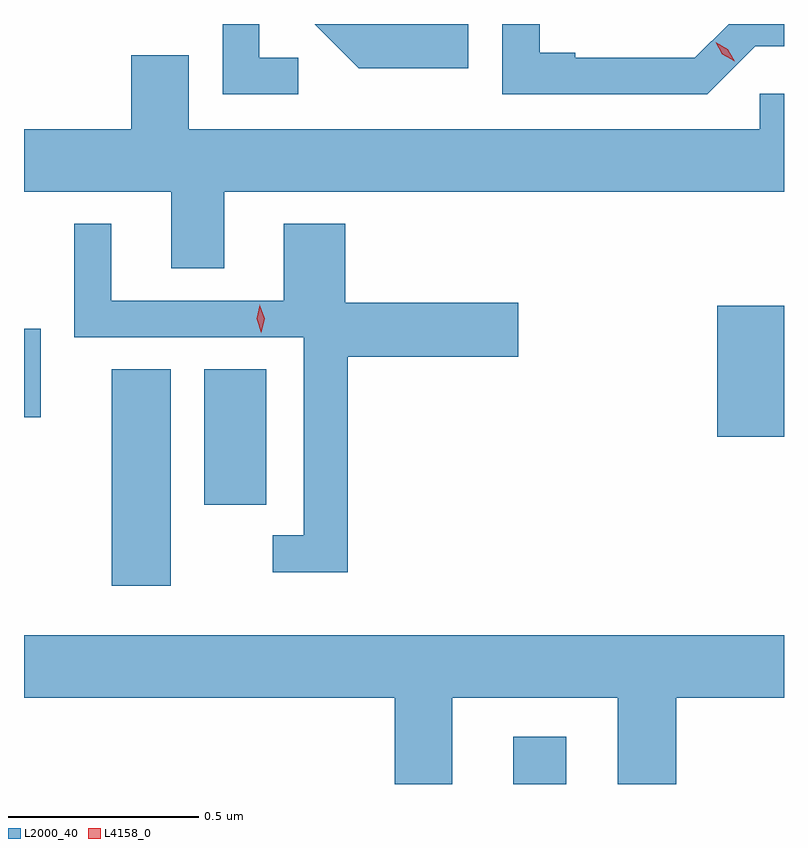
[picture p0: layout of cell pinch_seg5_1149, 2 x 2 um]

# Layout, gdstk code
import gdstk
lib = gdstk.Library(unit=1e-6, precision=1e-09)
def R(c, l, rs):  # rectangles x0, y0, x1, y1
    for r in rs: c.add(gdstk.rectangle(r[:2], r[2:], *l))
def P(c, l, *ps):  # polygons
    for p in ps: c.add(gdstk.Polygon(p, *l))
L2000_40 = (2000, 40)
L4158_0 = (4158, 0)

pinch_seg5_1149 = lib.new_cell('pinch_seg5_1149')
R(pinch_seg5_1149, L2000_40, [(796.199,847.209,796.339,847.333), (795.143,847.731,795.298,848.3), (795.386,847.944,795.55,848.3), (796.736,848.123,796.912,848.467), (794.912,848.174,794.956,848.407)])
P(pinch_seg5_1149, L2000_40, [(796.836,849.15),(796.912,849.15),(796.912,849.209),(796.766,849.209),(796.677,849.12),(796.363,849.12),(796.363,849.133),(796.269,849.133),(796.269,849.209),(796.17,849.209),(796.17,849.024),(796.71,849.024)],
  [(796.081,849.209),(795.677,849.209),(795.713,849.173),(795.793,849.092),(796.081,849.092)],
  [(795.634,849.12),(795.531,849.12),(795.531,849.209),(795.435,849.209),(795.435,849.024),(795.634,849.024)],
  [(795.439,848.768),(796.912,848.768),(796.912,849.025),(796.848,849.025),(796.848,848.932),(795.346,848.932),(795.346,849.127),(795.194,849.127),(795.194,848.932),(794.912,848.932),(794.912,848.768),(795.299,848.768),(795.299,848.566),(795.439,848.566)],
  [(795.764,848.333),(796.213,848.333),(796.213,848.475),(795.758,848.475),(795.758,848.683),(795.596,848.683),(795.596,848.481),(795.142,848.481),(795.142,848.683),(795.044,848.683),(795.044,848.385),(795.648,848.385),(795.648,847.863),(795.567,847.863),(795.567,847.766),(795.764,847.766)],
  [(796.039,847.436),(796.475,847.436),(796.475,847.209),(796.628,847.209),(796.628,847.436),(796.912,847.436),(796.912,847.6),(794.912,847.6),(794.912,847.436),(795.887,847.436),(795.887,847.209),(796.039,847.209)])
P(pinch_seg5_1149, L4158_0, [(796.782,849.111),(796.75,849.129),(796.732,849.161),(796.732,849.161),(796.732,849.161),(796.764,849.143),(796.782,849.111),(796.782,849.111)],
  [(795.536,848.397),(795.536,848.397),(795.525,848.433),(795.533,848.469),(795.533,848.47),(795.533,848.469),(795.545,848.434),(795.536,848.397)])

lib.write_gds('pinch_seg5_1149.gds')
